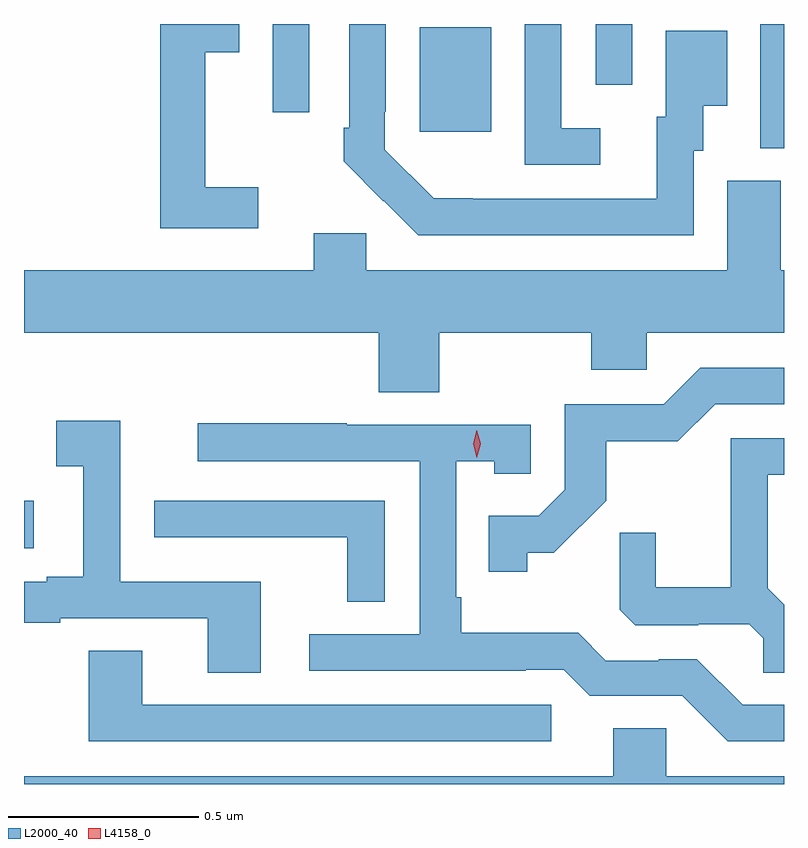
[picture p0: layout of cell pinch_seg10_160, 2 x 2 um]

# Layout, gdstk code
import gdstk
lib = gdstk.Library(unit=1e-6, precision=1e-09)
def R(c, l, rs):  # rectangles x0, y0, x1, y1
    for r in rs: c.add(gdstk.rectangle(r[:2], r[2:], *l))
def P(c, l, *ps):  # polygons
    for p in ps: c.add(gdstk.Polygon(p, *l))
L2000_40 = (2000, 40)
L4158_0 = (4158, 0)

pinch_seg10_160 = lib.new_cell('pinch_seg10_160')
R(pinch_seg10_160, L2000_40, [(721.088,1274.441,721.114,1274.565), (723.026,1275.493,723.088,1275.82), (722.129,1275.537,722.317,1275.811), (721.743,1275.588,721.839,1275.82), (722.592,1275.66,722.688,1275.82)])
P(pinch_seg10_160, L2000_40, [(722.605,1275.546),(722.502,1275.546),(722.502,1275.82),(722.406,1275.82),(722.406,1275.45),(722.605,1275.45)],
  [(721.705,1275.391),(721.565,1275.391),(721.565,1275.746),(721.654,1275.746),(721.654,1275.82),(721.447,1275.82),(721.447,1275.282),(721.705,1275.282)],
  [(722.85,1275.486),(722.875,1275.486),(722.875,1275.605),(722.938,1275.605),(722.938,1275.802),(722.777,1275.802),(722.777,1275.576),(722.753,1275.576),(722.753,1275.36),(722.269,1275.36),(722.269,1275.361),(722.166,1275.361),(722.037,1275.489),(722.037,1275.589),(722.04,1275.589),(722.04,1275.82),(721.944,1275.82),(721.944,1275.547),(721.929,1275.547),(721.929,1275.459),(722.034,1275.354),(722.035,1275.355),(722.126,1275.264),(722.85,1275.264)],
  [(722.181,1275.008),(722.581,1275.008),(722.581,1274.91),(722.727,1274.91),(722.727,1275.008),(723.088,1275.008),(723.088,1275.172),(723.079,1275.172),(723.079,1275.408),(722.939,1275.408),(722.939,1275.172),(721.989,1275.172),(721.989,1275.27),(721.85,1275.27),(721.85,1275.172),(721.088,1275.172),(721.088,1275.008),(722.021,1275.008),(722.021,1274.851),(722.181,1274.851)],
  [(722.412,1274.429),(722.482,1274.429),(722.62,1274.566),(722.62,1274.722),(722.809,1274.722),(722.907,1274.82),(723.088,1274.82),(723.088,1274.916),(722.868,1274.916),(722.772,1274.82),(722.511,1274.82),(722.511,1274.595),(722.442,1274.526),(722.311,1274.526),(722.311,1274.379),(722.412,1274.379)],
  [(721.711,1274.352),(721.341,1274.352),(721.341,1274.776),(721.173,1274.776),(721.173,1274.656),(721.244,1274.656),(721.244,1274.365),(721.148,1274.365),(721.148,1274.352),(721.088,1274.352),(721.088,1274.244),(721.183,1274.244),(721.183,1274.256),(721.571,1274.256),(721.571,1274.113),(721.711,1274.113)],
  [(723.088,1274.028),(722.979,1274.028),(722.859,1274.148),(722.758,1274.148),(722.758,1274.145),(722.619,1274.145),(722.546,1274.218),(722.239,1274.218),(722.239,1274.311),(722.226,1274.311),(722.226,1274.669),(722.325,1274.669),(722.325,1274.637),(722.421,1274.637),(722.421,1274.766),(721.937,1274.766),(721.937,1274.769),(721.545,1274.769),(721.545,1274.67),(722.13,1274.67),(722.13,1274.214),(721.839,1274.214),(721.839,1274.118),(722.408,1274.118),(722.408,1274.121),(722.508,1274.121),(722.577,1274.052),(722.82,1274.052),(722.94,1273.932),(723.088,1273.932)],
  [(723.088,1274.292),(723.045,1274.335),(723.045,1274.634),(723.088,1274.634),(723.088,1274.73),(722.948,1274.73),(722.948,1274.338),(722.75,1274.338),(722.75,1274.481),(722.656,1274.481),(722.656,1274.279),(722.697,1274.238),(722.862,1274.238),(722.862,1274.241),(722.996,1274.241),(723.033,1274.204),(723.033,1274.113),(723.088,1274.113)],
  [(722.037,1274.565),(721.431,1274.565),(721.431,1274.47),(721.543,1274.47),(721.543,1274.469),(721.939,1274.469),(721.939,1274.299),(722.037,1274.299)],
  [(722.476,1274.028),(721.399,1274.028),(721.399,1274.171),(721.259,1274.171),(721.259,1273.932),(722.476,1273.932)],
  [(723.088,1273.84),(722.778,1273.84),(722.778,1273.967),(722.639,1273.967),(722.639,1273.84),(721.088,1273.84),(721.088,1273.82),(723.088,1273.82)])
P(pinch_seg10_160, L4158_0, [(722.28,1274.679),(722.28,1274.679),(722.27,1274.715),(722.28,1274.751),(722.28,1274.751),(722.28,1274.751),(722.29,1274.715),(722.28,1274.679)])

lib.write_gds('pinch_seg10_160.gds')
